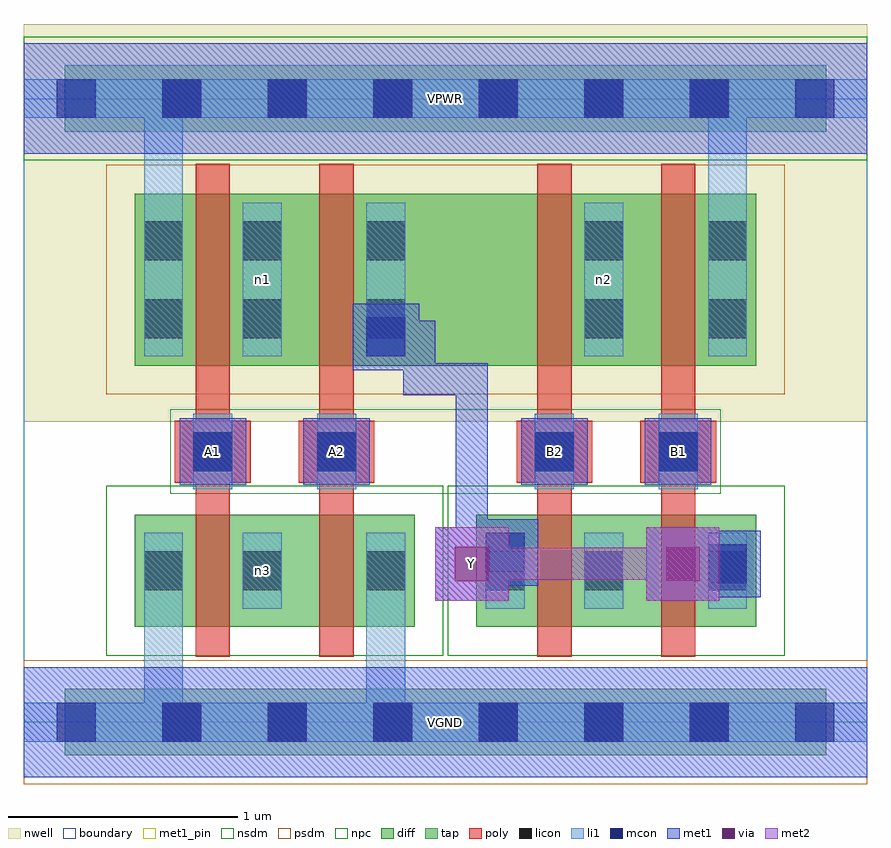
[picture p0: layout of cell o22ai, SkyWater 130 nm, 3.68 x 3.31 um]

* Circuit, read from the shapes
.subckt o22ai A1 A2 B1 B2 VGND VPWR Y n1 n2 n3
XM1 n3 A1 VGND VGND sky130_fd_pr__nfet_01v8 w=0.49 l=0.15
XM2 VGND A2 n3 VGND sky130_fd_pr__nfet_01v8 w=0.49 l=0.15
XM3 n4 B2 Y VGND sky130_fd_pr__nfet_01v8 w=0.49 l=0.15
XM4 Y B1 n4 VGND sky130_fd_pr__nfet_01v8 w=0.49 l=0.15
XM5 n1 A1 VPWR VPWR sky130_fd_pr__pfet_01v8 w=0.75 l=0.15
XM6 Y A2 n1 VPWR sky130_fd_pr__pfet_01v8 w=0.75 l=0.15
XM7 n2 B2 Y VPWR sky130_fd_pr__pfet_01v8 w=0.75 l=0.15
XM8 VPWR B1 n2 VPWR sky130_fd_pr__pfet_01v8 w=0.75 l=0.15
.ends

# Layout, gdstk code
import gdstk
lib = gdstk.Library(unit=1e-6, precision=1e-09)
def R(c, l, rs):  # rectangles x0, y0, x1, y1
    for r in rs: c.add(gdstk.rectangle(r[:2], r[2:], *l))
def A(c, l, x, y, w, h, nx, ny, dx, dy):  # array of equal rectangles
    R(c, l, [(x+i*dx, y+j*dy, x+i*dx+w, y+j*dy+h) for i in range(nx) for j in range(ny)])
nwell = (64, 20)
diff = (65, 20)
tap = (65, 44)
poly = (66, 20)
licon = (66, 44)
li1 = (67, 20)
mcon = (67, 44)
met1_pin = (68, 16)
met1 = (68, 20)
via = (68, 44)
met2 = (69, 20)
nsdm = (93, 44)
psdm = (94, 20)
npc = (95, 20)
boundary = (235, 4)

o22ai = lib.new_cell('o22ai')
R(o22ai, nwell, [(0,1.31,3.68,3.045)])
R(o22ai, diff, [(0.485,0.415,1.705,0.905), (1.975,0.415,3.195,0.905), (0.485,1.555,3.195,2.305)])
R(o22ai, tap, [(0.18,-0.145,3.5,0.145), (0.18,2.575,3.5,2.865)])
R(o22ai, poly, [(0.75,0.285,0.9,2.435), (1.29,0.285,1.44,2.435), (2.24,0.285,2.39,2.435), (2.78,0.285,2.93,2.435), (0.66,1.045,0.99,1.315), (1.2,1.045,1.53,1.315), (2.15,1.045,2.48,1.315), (2.69,1.045,3.02,1.315)])
A(o22ai, licon, 0.605, -0.085, 0.17, 0.17, 6, 2, 0.46, 2.72)
R(o22ai, licon, [(0.525,0.575,0.695,0.745), (0.955,0.575,1.125,0.745), (1.495,0.575,1.665,0.745), (2.015,0.575,2.185,0.745), (2.445,0.575,2.615,0.745), (2.985,0.575,3.155,0.745), (0.74,1.095,0.91,1.265), (1.28,1.095,1.45,1.265), (2.23,1.095,2.4,1.265), (2.77,1.095,2.94,1.265), (0.525,1.675,0.695,1.845), (0.955,1.675,1.125,1.845), (1.495,1.675,1.665,1.845), (2.445,1.675,2.615,1.845), (2.985,1.675,3.155,1.845), (0.525,2.015,0.695,2.185), (0.955,2.015,1.125,2.185), (1.495,2.015,1.665,2.185), (2.445,2.015,2.615,2.185), (2.985,2.015,3.155,2.185)])
R(o22ai, li1, [(0,-0.085,3.68,0.085), (0.525,-0.085,0.695,0.825), (1.495,-0.085,1.665,0.825), (0.525,0.495,0.695,0.825), (0.955,0.495,1.125,0.825), (1.495,0.495,1.665,0.825), (2.015,0.495,2.185,0.825), (2.445,0.495,2.615,0.825), (2.985,0.495,3.155,0.825), (0.74,1.015,0.91,1.345), (1.28,1.015,1.45,1.345), (2.23,1.015,2.4,1.345), (2.77,1.015,2.94,1.345), (0.525,1.595,0.695,2.265), (0.525,1.595,0.695,2.805), (0.955,1.595,1.125,2.265), (1.495,1.595,1.665,2.265), (2.445,1.595,2.615,2.265), (2.985,1.595,3.155,2.265), (2.985,1.595,3.155,2.805), (0,2.635,3.68,2.805)])
A(o22ai, mcon, 0.145, -0.085, 0.17, 0.17, 8, 2, 0.46, 2.72)
R(o22ai, mcon, [(2.985,0.605,3.155,0.775), (2.015,0.655,2.185,0.825), (0.74,1.095,0.91,1.265), (1.28,1.095,1.45,1.265), (2.23,1.095,2.4,1.265), (2.77,1.095,2.94,1.265), (1.495,1.595,1.665,1.765)])
R(o22ai, met1_pin, [(0,-0.24,3.68,0.24), (1.795,0.53,2.115,0.85), (0.68,1.035,0.97,1.325), (1.22,1.035,1.51,1.325), (2.17,1.035,2.46,1.325), (2.71,1.035,3,1.325), (0,2.48,3.68,2.96)])
R(o22ai, met1, [(0,-0.24,3.68,0.24), (1.795,0.53,2.115,0.85), (2.715,0.53,3.035,0.85), (2.925,0.545,3.215,0.835), (1.955,0.595,2.245,0.885), (1.885,0.62,2.025,0.99), (2.805,0.62,3.14,0.76), (1.885,0.67,2.17,0.81), (1.885,0.67,2.025,0.99), (1.885,0.85,2.025,1.565), (0.68,1.035,0.97,1.325), (1.22,1.035,1.51,1.325), (2.17,1.035,2.46,1.325), (2.71,1.035,3,1.325), (1.655,1.425,1.795,1.75), (1.655,1.425,2.025,1.565), (1.435,1.535,1.725,1.825), (1.51,1.61,1.795,1.75), (0,2.48,3.68,2.96)])
R(o22ai, via, [(1.88,0.615,2.03,0.765), (2.8,0.615,2.95,0.765)])
R(o22ai, met2, [(1.795,0.53,2.115,0.85), (2.715,0.53,3.035,0.85), (1.885,0.62,2.945,0.76)])
R(o22ai, nsdm, [(0.36,0.29,1.83,1.03), (1.85,0.29,3.32,1.03), (0,2.45,3.68,2.99)])
R(o22ai, psdm, [(0,-0.27,3.68,0.27), (0.36,1.43,3.32,2.43)])
R(o22ai, npc, [(0.64,0.995,3.04,1.365)])
R(o22ai, boundary, [(0,0,3.68,2.72)])
o22ai.add(gdstk.Label('n3', (1.04,0.66), layer=67, texttype=5))
o22ai.add(gdstk.Label('n1', (1.04,1.93), layer=67, texttype=5))
o22ai.add(gdstk.Label('n2', (2.53,1.93), layer=67, texttype=5))
o22ai.add(gdstk.Label('A1', (0.825,1.18), layer=68, texttype=5))
o22ai.add(gdstk.Label('A2', (1.365,1.18), layer=68, texttype=5))
o22ai.add(gdstk.Label('B1', (2.855,1.18), layer=68, texttype=5))
o22ai.add(gdstk.Label('B2', (2.315,1.18), layer=68, texttype=5))
o22ai.add(gdstk.Label('Y', (1.955,0.69), layer=68, texttype=5))
o22ai.add(gdstk.Label('VPWR', (1.84,2.72), layer=68, texttype=5))
o22ai.add(gdstk.Label('VGND', (1.84,0), layer=68, texttype=5))
o22ai.add(gdstk.Label('A1', (0.825,1.18), layer=68, texttype=16))
o22ai.add(gdstk.Label('A2', (1.365,1.18), layer=68, texttype=16))
o22ai.add(gdstk.Label('B1', (2.855,1.18), layer=68, texttype=16))
o22ai.add(gdstk.Label('B2', (2.315,1.18), layer=68, texttype=16))
o22ai.add(gdstk.Label('Y', (1.955,0.69), layer=68, texttype=16))
o22ai.add(gdstk.Label('VPWR', (1.84,2.72), layer=68, texttype=16))
o22ai.add(gdstk.Label('VGND', (1.84,0), layer=68, texttype=16))

lib.write_gds('o22ai.gds')
